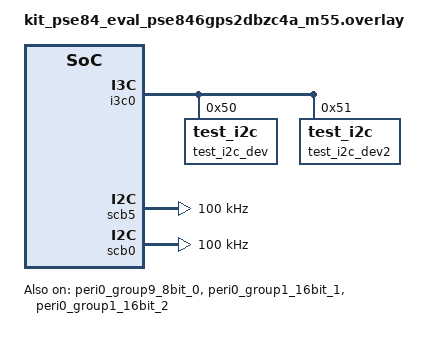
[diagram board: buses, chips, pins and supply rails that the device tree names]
/*
 * Copyright (c) 2026 Infineon Technologies AG,
 * or an affiliate of Infineon Technologies AG.
 *
 * SPDX-License-Identifier: Apache-2.0
 */

/* Board overlay for I3C I2C legacy device tests on KIT_PSE84_EVAL (M55 core).
 *
 * Physical connections required:
 *   P3.0  — I3C0 SCL (open-drain, internal pull-up enabled)
 *   P3.1  — I3C0 SDA (open-drain, internal pull-up enabled)
 *
 * For transfer tests, jumper SCB5 to the I3C bus:
 *   P17.0 (SCB5 SCL) <-> P3.0 (I3C0 SCL)
 *   P17.1 (SCB5 SDA) <-> P3.1 (I3C0 SDA)
 *
 * For the multiple-targets test, also jumper SCB0 to the I3C bus:
 *   P8.0 (SCB0 SCL) <-> P3.0 (I3C0 SCL)
 *   P8.1 (SCB0 SDA) <-> P3.1 (I3C0 SDA)
 *
 * SCB5 acts as an I2C target at address 0x50; the I3C0 controller
 * (acting as I2C controller) drives it.
 */

/ {
	aliases {
		test-i3c = &i3c0;
		test-i2c-target = &scb5;
		test-i2c-target2 = &scb0;
	};
};

&p3_0_i3c0_i3c_scl {
	infineon,cfgout3-mode;
};

&p3_1_i3c0_i3c_sda {
	infineon,cfgout3-mode;
};

/* GPIO port 3 must be enabled for the I3C pins (P3.0, P3.1) */
&gpio_prt3 {
	status = "okay";
};

&peri0_group9_8bit_0 {
	status = "okay";
	clock-div = <4>;
};

&i3c0 {
	status = "okay";
	clocks = <&peri0_group9_8bit_0>;
	pinctrl-0 = <&p3_0_i3c0_i3c_scl &p3_1_i3c0_i3c_sda>;
	pinctrl-names = "default";
	i3c-scl-hz = <12500000>;
	/*
	 * Controller-side OD/I2C SCL rate is intentionally well below the
	 * SCB targets' 100 kHz to give a wide sampling margin: the loopback
	 * wiring uses only the pads' weak internal pull-ups (no external
	 * pull-up resistors), so SDA/SCL rise times are slow.  Running the
	 * controller at 10 kHz keeps the bit cells long enough for reliable
	 * sampling on this bench setup.
	 */
	i2c-scl-hz = <10000>;
	primary-controller-da = <0x08>;

	/* reg = <addr pid_high lvr> */
	test_i2c_dev: test_i2c@500000000000000010 {
		reg = <0x50 0x0 0x10>;
	};

	test_i2c_dev2: test_i2c@510000000000000010 {
		reg = <0x51 0x0 0x10>;
	};
};

/*
 * GPIO-mode pin nodes for SCB5 sleep state.
 * HSIOM_SEL_GPIO disconnects the SCB from the pad so a disabled SCB
 * cannot hold SDA/SCL low through its latched output driver.
 */
&pinctrl {
	/omit-if-no-ref/ p17_0_gpio: p17_0_gpio {
		pinmux = <DT_CAT1_PINMUX(17, 0, HSIOM_SEL_GPIO)>;
		input-enable;
	};

	/omit-if-no-ref/ p17_1_gpio: p17_1_gpio {
		pinmux = <DT_CAT1_PINMUX(17, 1, HSIOM_SEL_GPIO)>;
		input-enable;
	};
};

i2c5: &scb5 {
	compatible = "infineon,i2c";
	status = "okay";

	#address-cells = <1>;
	#size-cells = <0>;

	pinctrl-0 = <&p17_0_scb5_i2c_scl &p17_1_scb5_i2c_sda>;
	pinctrl-1 = <&p17_0_gpio &p17_1_gpio>;
	pinctrl-names = "default", "sleep";

	clocks = <&peri0_group1_16bit_1>;
	clock-frequency = <100000>;
};

/* SCB5 I2C target pins: bias-pull-up for open-drain mode with built-in pull-up. */
&p17_0_scb5_i2c_scl {
	input-enable;
	bias-pull-up;
};

&p17_1_scb5_i2c_sda {
	input-enable;
	bias-pull-up;
};

/* GPIO port 17 must be enabled for the SCB5 pins (P17.0, P17.1) */
&gpio_prt17 {
	status = "okay";
};

&peri0_group1_16bit_1 {
	status = "okay";
	clock-div = <4>;
};

/*
 * SCB0 configured as I2C target at 100 kHz (Standard Mode).
 *
 * Physical loopback wiring required for TR-I2C-007:
 *   P8.0 (SCB0 SCL) <-> P3.0 (I3C0 SCL)
 *   P8.1 (SCB0 SDA) <-> P3.1 (I3C0 SDA)
 *
 * Uses peri0_group1_16bit_2 (independent of SCB5's peri0_group1_16bit_1).
 */
i2c0: &scb0 {
	compatible = "infineon,i2c";
	status = "okay";

	#address-cells = <1>;
	#size-cells = <0>;

	pinctrl-0 = <&p8_0_scb0_i2c_scl &p8_1_scb0_i2c_sda>;
	pinctrl-names = "default";

	clocks = <&peri0_group1_16bit_2>;
	clock-frequency = <100000>;
};

/*
 * SCB0 I2C target pins: bias-pull-up (drives 0 strongly, weak pull-up for 1).
 */
&p8_0_scb0_i2c_scl {
	input-enable;
	bias-pull-up;
};

&p8_1_scb0_i2c_sda {
	input-enable;
	bias-pull-up;
};

&gpio_prt8 {
	status = "okay";
};

&peri0_group1_16bit_2 {
	status = "okay";
	clock-div = <4>;
};
